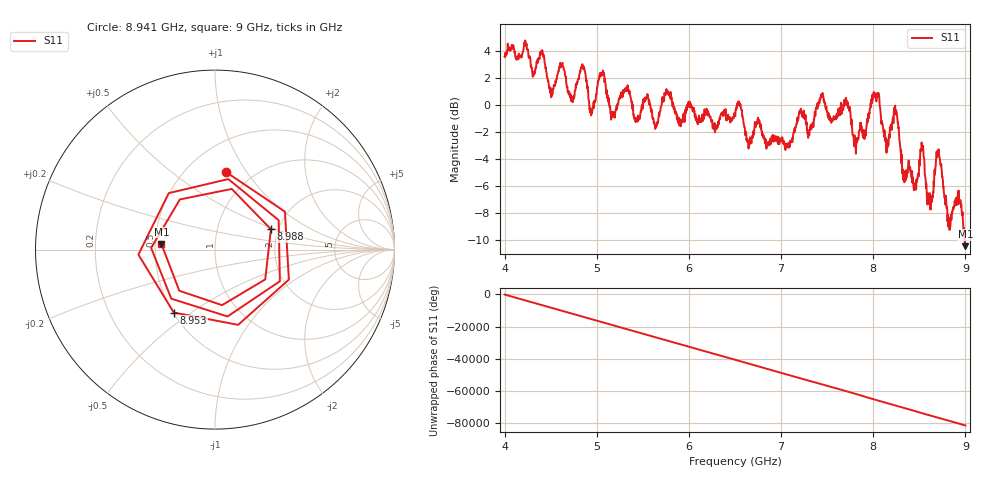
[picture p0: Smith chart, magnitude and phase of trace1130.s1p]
! Created with skrf 1.8.0 (http://scikit-rf.org).
# Hz S RI R 50.0
!freq ReS11 ImS11
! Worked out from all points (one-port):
!   1601 points, 4 GHz to 9 GHz, reference 50 ohm
!   lowest |S11| = -10.4 dB at 9 GHz (marker M1), VSWR 1.86, Z = 26.9 + j1.88 ohm
!   |S11| at or under -10 dB: 8.993032 GHz to end of sweep
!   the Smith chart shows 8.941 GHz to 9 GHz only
!   S11 on the Smith chart (normalised r, x): 8.941 GHz: 0.76, +0.81; 8.953 GHz: 0.50, -0.43; 8.988 GHz: 1.83, +0.47; 9 GHz: 0.54, +0.04
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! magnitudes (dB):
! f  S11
! 4 GHz  3.5
! 4.406 GHz  3.9
! 4.506 GHz  0.5
! 4.625 GHz  3.0
! 4.734 GHz  0.2
! 4.853 GHz  2.8
! 4.944 GHz  -0.5
! 5.053 GHz  2.3
! 5.172 GHz  -0.7
! 5.25 GHz  0.4
! 5.875 GHz  -1.0
! 6.5 GHz  -0.7
! 7.125 GHz  -2.4
! 7.434 GHz  0.7
! 7.75 GHz  -0.5
! 7.816 GHz  -2.9
! 8.041 GHz  0.8
! 8.144 GHz  -3.5
! 8.247 GHz  -0.5
! 8.375 GHz  -4.7
! 8.531 GHz  -3.3
! 8.619 GHz  -7.0
! 8.706 GHz  -3.3
! 8.825 GHz  -8.4
! 8.941 GHz  -7.2
! 8.953 GHz  -7.6
! 8.988 GHz  -9.6
! 9 GHz  -10.4
